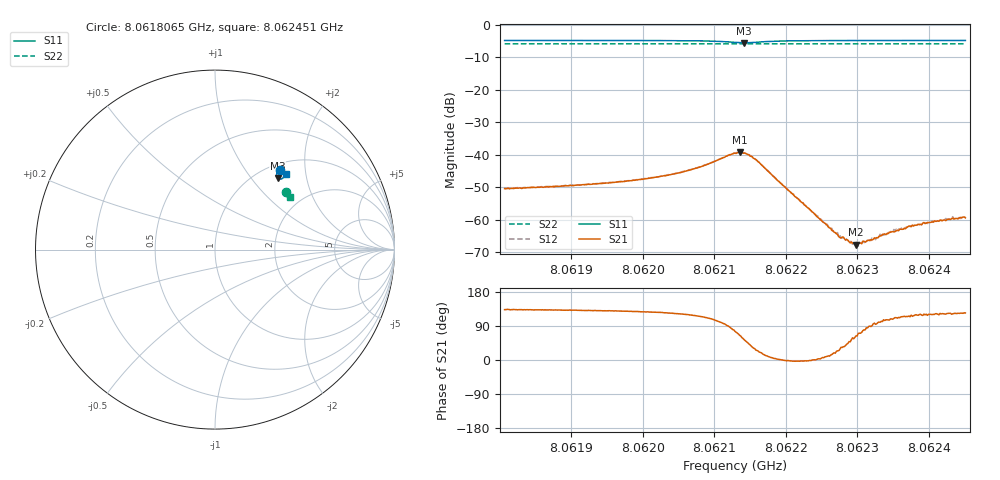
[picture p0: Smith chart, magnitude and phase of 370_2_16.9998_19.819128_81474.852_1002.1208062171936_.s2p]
#  HZ  S  RI  R  50.00
! Rohde & Schwarz Vector Network Analyzer
! Rohde-Schwarz,ZNB20-2Port,1311601062101988,3.16
! Created: UTC 3/20/2024, 11:08:42 PM
! freq[Hz]  re:S11  im:S11  re:S21  im:S21  re:S12  im:S12  re:S22  im:S22
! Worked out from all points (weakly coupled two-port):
!   401 points, 8.0618065 GHz to 8.062451 GHz, reference 50 ohm
!   highest |S21| = -39.27 dB at 8.0621352 GHz (marker M1); lowest = -67.7 dB at 8.0622979 GHz (marker M2)
!   lowest |S11| = -5.5 dB at 8.0621416 GHz (marker M3), VSWR 3.25, Z = 61.9 + j68.5 ohm
!   |S11| at or under -10 dB: nowhere
!   |S22| runs from -5.9 to -5.8 dB; largest |S21 - S12| = 0.00074
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8.06180647e9  0.3646 0.4459  -0.00205 0.00221  -0.00194 0.00234  0.3975 0.3236
8.06191443e9  0.3721 0.4394  -0.00226 0.00261  -0.00211 0.00273  0.4016 0.3179
8.06197244e9  0.3763 0.435  -0.00242 0.00305  -0.00228 0.00322  0.4038 0.3149
8.06202239e9  0.3806 0.4297  -0.00267 0.00375  -0.00246 0.00387  0.4056 0.3124
8.06205301e9  0.3834 0.4248  -0.00278 0.00455  -0.00256 0.00476  0.4068 0.3106
8.06207557e9  0.3851 0.4191  -0.00278 0.00562  -0.00246 0.00583  0.4076 0.3093
8.06212874e9  0.3666 0.3929  0.00261 0.0102  0.00317 0.0101  0.4081 0.3059
8.06213519e9  0.3581 0.3936  0.00454 0.00988  0.00513 0.00966  0.408 0.3056
8.06214163e9  0.3499 0.398  0.00636 0.00859  0.00675 0.00818  0.4081 0.3057
8.06214969e9  0.3435 0.4076  0.00732 0.00618  0.00795 0.00578  0.408 0.3059
8.06215936e9  0.3432 0.4196  0.00742 0.00347  0.00767 0.00295  0.4086 0.3059
8.0622367e9  0.3723 0.4348  0.00132 4.34e-06  0.00133 -8.93e-05  0.4126 0.3026
8.06227376e9  0.3782 0.4322  0.000502 0.000229  0.000503 0.000231  0.4142 0.3007
8.06228021e9  0.379 0.4319  0.000445 0.000311  0.000449 0.000234  0.4143 0.3003
8.06229149e9  0.3802 0.431  0.000272 0.000364  0.000302 0.000342  0.4148 0.2997
8.06229794e9  0.381 0.4306  0.000184 0.000372  0.000249 0.000375  0.415 0.2994
8.06231244e9  0.3824 0.4297  4.03e-05 0.000461  7.1e-05 0.000461  0.4156 0.2985
8.06234467e9  0.3854 0.4277  -0.000167 0.000614  -0.000142 0.000628  0.4167 0.2969
8.06237367e9  0.3877 0.4259  -0.000325 0.000726  -0.000323 0.000715  0.4177 0.2953
8.06239462e9  0.3892 0.4247  -0.000425 0.000764  -0.000392 0.000796  0.4184 0.2942
8.06243007e9  0.3916 0.4227  -0.000557 0.000842  -0.000504 0.000899  0.4197 0.2925
8.06245102e9  0.393 0.4217  -0.000601 0.000885  -0.000559 0.000953  0.4204 0.2914
